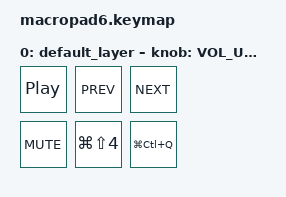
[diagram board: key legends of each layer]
/*
 * 6 键宏键盘 keymap
 *
 * 6 个按键 = 功能按钮（一按即触发动作，不用来打字）
 *   上排: 播放/暂停 | 上一曲 | 下一曲
 *   下排: 静音     | 截图   | 锁屏
 *
 * 旋钮 1: 音量加 / 音量减
 * 旋钮 2: 向下翻页 / 向上翻页
 *
 * 改键有两种方式：
 *   1. 网页实时改（推荐）：USB 连 Mac → Chrome 打开 https://zmk.studio
 *      → 先按住 键1 + 键3 解锁 → 拖拽改键，即时生效、不用重新编译。
 *   2. 改这个文件后重新编译刷入。
 */

#include <behaviors.dtsi>
#include <dt-bindings/zmk/keys.h>

/ {
    keymap {
        compatible = "zmk,keymap";

        default_layer {
            bindings = <
                &kp C_PLAY_PAUSE   &kp C_PREV               &kp C_NEXT
                &kp C_MUTE         &kp LG(LS(NUMBER_4))     &kp LG(LC(Q))
            >;
            sensor-bindings = <&inc_dec_kp C_VOL_UP C_VOL_DN>
                              <&inc_dec_kp PG_DN PG_UP>;
        };
    };

    /* 按住 键1 + 键3 同时按一下，解除 ZMK Studio 的写入锁 */
    combos {
        compatible = "zmk,combos";

        studio_unlock_combo {
            timeout-ms = <70>;
            key-positions = <0 2>;
            bindings = <&studio_unlock>;
        };
    };
};
